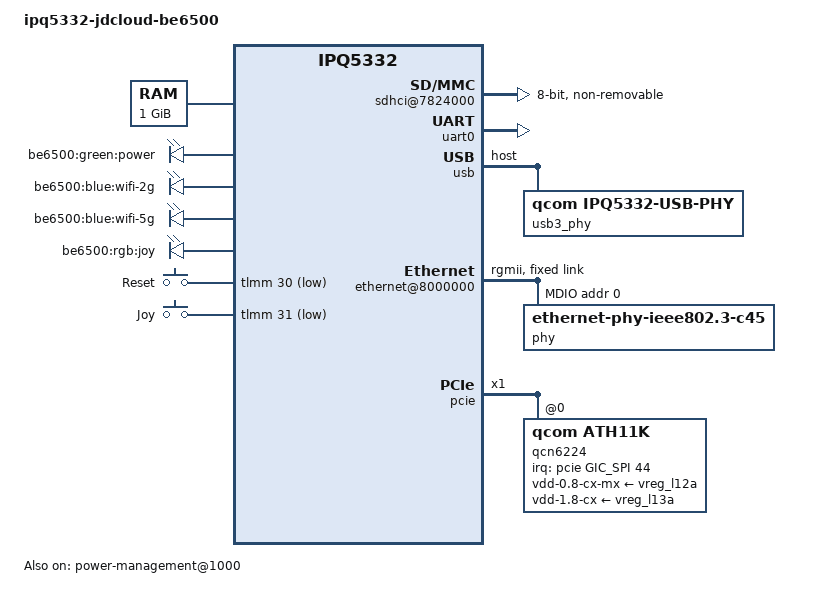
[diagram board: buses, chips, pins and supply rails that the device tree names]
/dts-v1/;
#include <dt-bindings/gpio/gpio.h>
#include <dt-bindings/input/input.h>
#include "ipq5332-base.dtsi"

/ {
    model = "ipq5332-jdcloud-be6500";
    compatible = "qcom,ipq5332-jdcloud-be6500", "qcom,ipq5332";

    memory {
        reg = <0x0 0x0 0x0 0x40000000>; /* 1GB DDR4 */
    };

    chosen {
        bootargs = "console=ttyMSM0,115200n8 earlycon=msm_serial_dm,0x078af000 rootfstype=squashfs,jffs2";
    };

    aliases {
        led-boot = &led_power;
        led-failsafe = &led_power;
        led-running = &led_power;
        led-upgrade = &led_power;
        serial0 = &uart0;
    };

    leds {
        compatible = "gpio-leds";

        led_power: power {
            label = "be6500:green:power";
            gpio = <&tlmm 32 GPIO_ACTIVE_LOW>;
            default-state = "on";
            retain-state-suspended;
        };

        led_wifi_2g: wifi-2g {
            label = "be6500:blue:wifi-2g";
            gpio = <&tlmm 33 GPIO_ACTIVE_LOW>;
            default-state = "off";
            retain-state-suspended;
        };

        led_wifi_5g: wifi-5g {
            label = "be6500:blue:wifi-5g";
            gpio = <&tlmm 34 GPIO_ACTIVE_LOW>;
            default-state = "off";
            retain-state-suspended;
        };

        led_joy: joy {
            label = "be6500:rgb:joy";
            gpio = <&tlmm 35 GPIO_ACTIVE_LOW>;
            default-state = "off";
            retain-state-suspended;
        };
    };

    buttons {
        compatible = "gpio-keys";
        #address-cells = <1>;
        #size-cells = <0>;

        reset {
            label = "Reset";
            gpios = <&tlmm 30 GPIO_ACTIVE_LOW>;
            linux,code = <KEY_RESTART>;
            debounce-interval = <200>;
        };

        joy {
            label = "Joy";
            gpios = <&tlmm 31 GPIO_ACTIVE_LOW>;
            linux,code = <KEY_PROG1>;
            debounce-interval = <200>;
        };
    };

    /* eMMC存储控制器 - 关键配置 */
    sdhci@7824000 {
        compatible = "qcom,ipq5332-sdhci", "qcom,sdhci-msm";
        reg = <0x0 0x07824000 0x0 0x1000>;
        interrupts = <GIC_SPI 123 IRQ_TYPE_LEVEL_HIGH>;
        clocks = <&clock GCC_SDCC1_AHB_CLK>, <&clock GCC_SDCC1_CLK>;
        clock-names = "iface", "core";
        bus-width = <8>;
        no-1-8-v;
        non-removable;
        status = "okay";
    };

    /* 电源管理配置 */
    power-management@1000 {
        compatible = "qcom,ipq5332-pm";
        reg = <0x0 0x00001000 0x0 0x1000>;
        status = "okay";
    };
};

/* 串口配置 */
&uart0 {
    status = "okay";
};

/* USB控制器配置 */
&usb {
    compatible = "qcom,ipq5332-dwc3";
    reg = <0x0 0x08800000 0x0 0x10000>;
    interrupts = <GIC_SPI 37 IRQ_TYPE_LEVEL_HIGH>;
    clocks = <&clock GCC_USB30_MASTER_CLK>,
             <&clock GCC_USB30_SLEEP_CLK>;
    clock-names = "core", "sleep";
    dr_mode = "host";
    status = "okay";

    usb3_phy: phy {
        compatible = "qcom,ipq5332-usb-phy";
        #phy-cells = <0>;
        clocks = <&clock GCC_USB30_MASTER_CLK>;
        status = "okay";
    };
};

/* 以太网配置 */
&ethernet@8000000 {
    compatible = "qcom,ipq5332-gmac";
    reg = <0x0 0x8000000 0x0 0x10000>;
    interrupts = <GIC_SPI 24 IRQ_TYPE_LEVEL_HIGH>;
    clocks = <&clock GCC_ETH0_CLK>;
    clock-names = "gmac";
    qcom,phy-handle = <&phy>;
    phy-mode = "rgmii";
    status = "okay";

    /* 添加网口名称映射 */
    fixed-link {
        speed = <2500>;  /* 2.5Gbps */
        full-duplex;
        pause;  /* 可选：启用流量控制，提升大流量稳定性 */
    };

    /* 定义物理网口为eth0 */
    ports {
        #address-cells = <1>;
        #size-cells = <0>;

        port@0 {
            reg = <0>;
            label = "eth0";  /* 网口名称，需与network配置中的ports一致 */
        };
    };
    mdio {
        #address-cells = <1>;
        #size-cells = <0>;

        phy: ethernet-phy@0 {
            reg = <0>;
            compatible = "ethernet-phy-ieee802.3-c45";
            max-speed = <2500>;
            qcom,phy-mdio-addr = <0>;
            phy-mode = "rgmii";
        };
    };
};

/* PCIe和WiFi配置 */
&pcie {
    compatible = "qcom,ipq5332-pcie";
    reg = <0x0 0x10000000 0x0 0x1000000>;
    interrupts = <GIC_SPI 43 IRQ_TYPE_LEVEL_HIGH>;
    clocks = <&clock GCC_PCIE0_CLK>,
             <&clock GCC_PCIE0_AHB_CLK>;
    clock-names = "core", "iface";
    status = "okay";
    num-lanes = <1>;

    qcn6224: wifi@0,0 {
        compatible = "qcom,ath11k";
        reg = <0 0 0 0x1000>;
        status = "okay";
        device_type = "pci";
        interrupt-parent = <&pcie>;
        interrupts = <GIC_SPI 44 IRQ_TYPE_LEVEL_HIGH>;
        qcom,chip-id = <0x6224>;
        qcom,board-id = <0x1000>;
        qcom,mac-offset = <0x00000000>;
        vdd-0.8-cx-mx-supply = <&vreg_l12a>;
        vdd-1.8-cx-supply = <&vreg_l13a>;
        power-domains = <&gcc PCIE0_GDSC>; 
    };
};

/* 电压调节器配置 */
&tlmm {
    vreg_l12a: regulator-l12a {
        compatible = "qcom,pm8005-regulator";
        regulator-name = "vdd-0.8-cx-mx";
        regulator-min-microvolt = <800000>;
        regulator-max-microvolt = <800000>;
        regulator-always-on;
    };

    vreg_l13a: regulator-l13a {
        compatible = "qcom,pm8005-regulator";
        regulator-name = "vdd-1.8-cx";
        regulator-min-microvolt = <1800000>;
        regulator-max-microvolt = <1800000>;
        regulator-always-on;
    };

    /* WAN 网口引脚组（独立） */
    wan_pins: wan-pins {
        mux {
            pins = "gpio6",  /* RGMII_TXD0 */
                   "gpio7",  /* RGMII_TXD1 */
                   "gpio8",  /* RGMII_TXD2 */
                   "gpio9",  /* RGMII_TXD3 */
                   "gpio10", /* RGMII_TX_CTRL */
                   "gpio11", /* RGMII_TX_CLK */
                   "gpio12", /* RGMII_RXD0 */
                   "gpio13", /* RGMII_RXD1 */
                   "gpio14", /* RGMII_RXD2 */
                   "gpio15", /* RGMII_RXD3 */
                   "gpio16", /* RGMII_RX_CTRL */
                   "gpio17"; /* RGMII_RX_CLK */
            function = "rgmii";
            drive-strength = <16>;
            bias-disable;
        };
    };

    /* LAN 网口引脚组（独立） */
    lan_pins: lan-pins {
        mux {
            pins = "gpio18", /* RGMII_TXD0 */
                   "gpio19", /* RGMII_TXD1 */
                   "gpio20", /* RGMII_TXD2 */
                   "gpio21", /* RGMII_TXD3 */
                   "gpio22", /* RGMII_TX_CTRL */
                   "gpio23", /* RGMII_TX_CLK */
                   "gpio24", /* RGMII_RXD0 */
                   "gpio25", /* RGMII_RXD1 */
                   "gpio26", /* RGMII_RXD2 */
                   "gpio27", /* RGMII_RXD3 */
                   "gpio28", /* RGMII_RX_CTRL */
                   "gpio29"; /* RGMII_RX_CLK */
            function = "rgmii";
            drive-strength = <16>;
            bias-disable;
        };
    };
};
